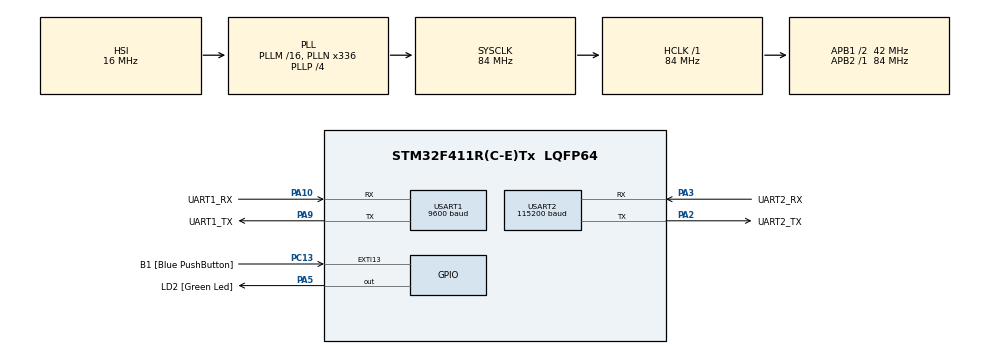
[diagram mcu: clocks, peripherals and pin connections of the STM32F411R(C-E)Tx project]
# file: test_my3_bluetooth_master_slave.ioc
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Mcu.Family=STM32F4
Mcu.Name=STM32F411R(C-E)Tx
Mcu.Package=LQFP64
NVIC.PriorityGroup=NVIC_PRIORITYGROUP_0
NVIC.USART1_IRQn=true\:0\:0\:false\:false\:true\:true\:true\:true
NVIC.USART2_IRQn=true\:0\:0\:false\:false\:true\:true\:true\:true
PA10.GPIO_Label=UART1_RX
PA10.Mode=Asynchronous
PA10.Signal=USART1_RX
PA13.GPIO_Label=TMS
PA13.Mode=Serial_Wire
PA13.Signal=SYS_JTMS-SWDIO
PA14.GPIO_Label=TCK
PA14.Mode=Serial_Wire
PA14.Signal=SYS_JTCK-SWCLK
PA2.GPIO_Label=UART2_TX
PA2.Mode=Asynchronous
PA2.Signal=USART2_TX
PA3.GPIO_Label=UART2_RX
PA3.Mode=Asynchronous
PA3.Signal=USART2_RX
PA5.GPIO_Label=LD2 [Green Led]
PA5.Signal=GPIO_Output
PA9.GPIO_Label=UART1_TX
PA9.Mode=Asynchronous
PA9.Signal=USART1_TX
PB3.GPIO_Label=SWO
PB3.Signal=SYS_JTDO-SWO
PC13-ANTI_TAMP.GPIO_Label=B1 [Blue PushButton]
PC13-ANTI_TAMP.GPIO_ModeDefaultEXTI=GPIO_MODE_IT_FALLING
PC13-ANTI_TAMP.Signal=GPXTI13
PC14-OSC32_IN.Mode=LSE-External-Oscillator
PC14-OSC32_IN.Signal=RCC_OSC32_IN
PC15-OSC32_OUT.Mode=LSE-External-Oscillator
PC15-OSC32_OUT.Signal=RCC_OSC32_OUT
PH0\ -\ OSC_IN.Mode=HSE-External-Clock-Source
PH0\ -\ OSC_IN.Signal=RCC_OSC_IN
PH1\ -\ OSC_OUT.Mode=HSE-External-Clock-Source
PH1\ -\ OSC_OUT.Signal=RCC_OSC_OUT
ProjectManager.HeapSize=0x200
ProjectManager.StackSize=0x400
ProjectManager.TargetToolchain=STM32CubeIDE
RCC.48MHZClocksFreq_Value=84000000
RCC.AHBFreq_Value=84000000
RCC.APB1CLKDivider=RCC_HCLK_DIV2
RCC.APB1Freq_Value=42000000
RCC.APB1TimFreq_Value=84000000
RCC.APB2Freq_Value=84000000
RCC.APB2TimFreq_Value=84000000
RCC.CortexFreq_Value=84000000
RCC.FLatency-AdvancedSettings=FLASH_LATENCY_2
RCC.HCLKFreq_Value=84000000
RCC.HSE_VALUE=8000000
RCC.HSI_VALUE=16000000
RCC.PLLN=336
RCC.PLLP=RCC_PLLP_DIV4
RCC.SYSCLKFreq_VALUE=84000000
RCC.SYSCLKSource=RCC_SYSCLKSOURCE_PLLCLK
RCC.VCOOutputFreq_Value=336000000
USART1.BaudRate=9600
USART1.VirtualMode=VM_ASYNC
USART2.BaudRate=115200
USART2.VirtualMode=VM_ASYNC
board=NUCLEO-F411RE

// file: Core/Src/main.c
/* USER CODE BEGIN Header */
/**
  ******************************************************************************
  * @file           : main.c
  * @brief          : Main program body
  ******************************************************************************
  * @attention
  *
  * Copyright (c) 2025 STMicroelectronics.
  * All rights reserved.
  *
  * This software is licensed under terms that can be found in the LICENSE file
  * in the root directory of this software component.
  * If no LICENSE file comes with this software, it is provided AS-IS.
  *
  ******************************************************************************
  */
/* USER CODE END Header */
#include "main.h"

UART_HandleTypeDef huart1;
UART_HandleTypeDef huart2;

void SystemClock_Config(void);
static void MX_GPIO_Init(void);
static void MX_USART2_UART_Init(void);
static void MX_USART1_UART_Init(void);

/* USER CODE BEGIN 0 */

#define BUF_SIZE 100
char buf1[BUF_SIZE], buf2[BUF_SIZE]; // DMA Buffer
char dum1, dum2;
int head1 = 0, head2 = 0, tail1 = 0, tail2 = 0;

void HAL_UART_RxCpltCallback(UART_HandleTypeDef *huart)
{
   if(huart == &huart1)
   {
      buf1[tail1++] = dum1;
      HAL_UART_Transmit(&huart2, &dum1/*== buf1+t1-1*/, 1, 10);      // putty print
      if(dum1 == '\r')
      {
    	  //CheckCMD(buf1);
    	  tail1 = 0;
      }
      HAL_UART_Receive_IT(&huart1, &dum1, 1);         // interrupt chain
   }

   else if(huart == &huart2)
   {
      buf2[tail2++] = dum2;
      HAL_UART_Transmit(&huart2, &dum2, 1, 10); // terminal echo
      if(dum2 == '\r')  // CR : 0x0d
      {
         HAL_UART_Transmit(&huart2, "\n", 1, 10); // terminal echo

         buf2[tail2++] = '\n'; // == HAL_UART_Transmit(&huart1, "\n", 1, 10);
         HAL_UART_Transmit(&huart1, buf2, tail2, 10);   // AT Command
//         HAL_UART_Transmit(&huart1, "\n", 1, 10);
         tail2 = 0;
      }
      HAL_UART_Receive_IT(&huart2, &dum2, 1);
   }
}

/* USER CODE END 0 */

int main(void)
{

  /* MCU Configuration--------------------------------------------------------*/

  /* Reset of all peripherals, Initializes the Flash interface and the Systick. */
  HAL_Init();

  /* Configure the system clock */
  SystemClock_Config();

  /* Initialize all configured peripherals */
  MX_GPIO_Init();
  MX_USART2_UART_Init();
  MX_USART1_UART_Init();
  /* USER CODE BEGIN 2 */
  ProgramStart("Bluetooth Test - Start");
  UART_Start_Receive_IT(&huart1, &dum1, 1);
  UART_Start_Receive_IT(&huart2, &dum2, 1);

  /* USER CODE END 2 */

  /* Infinite loop */
  while (1)
  {

  }
}

void SystemClock_Config(void)
{
  RCC_OscInitTypeDef RCC_OscInitStruct = {0};
  RCC_ClkInitTypeDef RCC_ClkInitStruct = {0};

  /** Configure the main internal regulator output voltage
  */
  __HAL_RCC_PWR_CLK_ENABLE();
  __HAL_PWR_VOLTAGESCALING_CONFIG(PWR_REGULATOR_VOLTAGE_SCALE1);

  /** Initializes the RCC Oscillators according to the specified parameters
  * in the RCC_OscInitTypeDef structure.
  */
  RCC_OscInitStruct.OscillatorType = RCC_OSCILLATORTYPE_HSI;
  RCC_OscInitStruct.HSIState = RCC_HSI_ON;
  RCC_OscInitStruct.HSICalibrationValue = RCC_HSICALIBRATION_DEFAULT;
  RCC_OscInitStruct.PLL.PLLState = RCC_PLL_ON;
  RCC_OscInitStruct.PLL.PLLSource = RCC_PLLSOURCE_HSI;
  RCC_OscInitStruct.PLL.PLLM = 16;
  RCC_OscInitStruct.PLL.PLLN = 336;
  RCC_OscInitStruct.PLL.PLLP = RCC_PLLP_DIV4;
  RCC_OscInitStruct.PLL.PLLQ = 4;
  if (HAL_RCC_OscConfig(&RCC_OscInitStruct) != HAL_OK)
  {
    Error_Handler();
  }

  /** Initializes the CPU, AHB and APB buses clocks
  */
  RCC_ClkInitStruct.ClockType = RCC_CLOCKTYPE_HCLK|RCC_CLOCKTYPE_SYSCLK
                              |RCC_CLOCKTYPE_PCLK1|RCC_CLOCKTYPE_PCLK2;
  RCC_ClkInitStruct.SYSCLKSource = RCC_SYSCLKSOURCE_PLLCLK;
  RCC_ClkInitStruct.AHBCLKDivider = RCC_SYSCLK_DIV1;
  RCC_ClkInitStruct.APB1CLKDivider = RCC_HCLK_DIV2;
  RCC_ClkInitStruct.APB2CLKDivider = RCC_HCLK_DIV1;

  if (HAL_RCC_ClockConfig(&RCC_ClkInitStruct, FLASH_LATENCY_2) != HAL_OK)
  {
    Error_Handler();
  }
}

static void MX_USART1_UART_Init(void)
{

  huart1.Instance = USART1;
  huart1.Init.BaudRate = 9600;
  huart1.Init.WordLength = UART_WORDLENGTH_8B;
  huart1.Init.StopBits = UART_STOPBITS_1;
  huart1.Init.Parity = UART_PARITY_NONE;
  huart1.Init.Mode = UART_MODE_TX_RX;
  huart1.Init.HwFlowCtl = UART_HWCONTROL_NONE;
  huart1.Init.OverSampling = UART_OVERSAMPLING_16;
  if (HAL_UART_Init(&huart1) != HAL_OK)
  {
    Error_Handler();
  }

}

static void MX_USART2_UART_Init(void)
{

  huart2.Instance = USART2;
  huart2.Init.BaudRate = 115200;
  huart2.Init.WordLength = UART_WORDLENGTH_8B;
  huart2.Init.StopBits = UART_STOPBITS_1;
  huart2.Init.Parity = UART_PARITY_NONE;
  huart2.Init.Mode = UART_MODE_TX_RX;
  huart2.Init.HwFlowCtl = UART_HWCONTROL_NONE;
  huart2.Init.OverSampling = UART_OVERSAMPLING_16;
  if (HAL_UART_Init(&huart2) != HAL_OK)
  {
    Error_Handler();
  }

}

static void MX_GPIO_Init(void)
{
  GPIO_InitTypeDef GPIO_InitStruct = {0};

  /* GPIO Ports Clock Enable */
  __HAL_RCC_GPIOC_CLK_ENABLE();
  __HAL_RCC_GPIOH_CLK_ENABLE();
  __HAL_RCC_GPIOA_CLK_ENABLE();
  __HAL_RCC_GPIOB_CLK_ENABLE();

  /*Configure GPIO pin Output Level */
  HAL_GPIO_WritePin(LD2_GPIO_Port, LD2_Pin, GPIO_PIN_RESET);

  /*Configure GPIO pin : B1_Pin */
  GPIO_InitStruct.Pin = B1_Pin;
  GPIO_InitStruct.Mode = GPIO_MODE_IT_FALLING;
  GPIO_InitStruct.Pull = GPIO_NOPULL;
  HAL_GPIO_Init(B1_GPIO_Port, &GPIO_InitStruct);

  /*Configure GPIO pin : LD2_Pin */
  GPIO_InitStruct.Pin = LD2_Pin;
  GPIO_InitStruct.Mode = GPIO_MODE_OUTPUT_PP;
  GPIO_InitStruct.Pull = GPIO_NOPULL;
  GPIO_InitStruct.Speed = GPIO_SPEED_FREQ_LOW;
  HAL_GPIO_Init(LD2_GPIO_Port, &GPIO_InitStruct);

}

void Error_Handler(void)
{
  __disable_irq();
  while (1)
  {
  }
}
